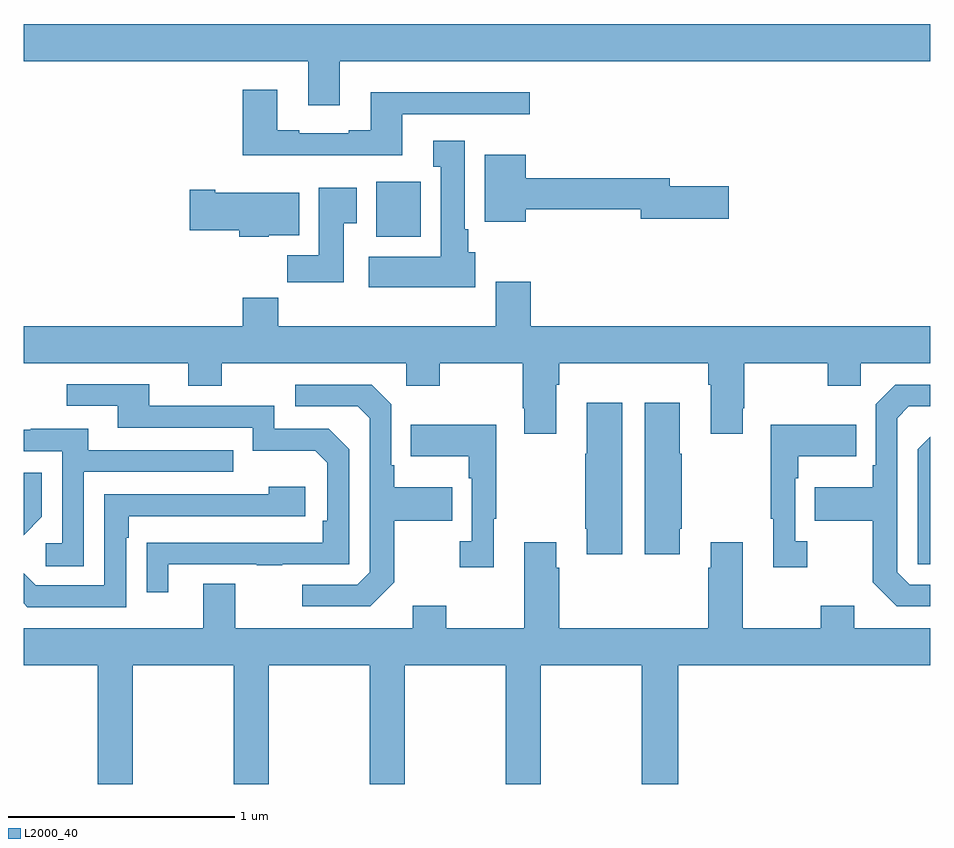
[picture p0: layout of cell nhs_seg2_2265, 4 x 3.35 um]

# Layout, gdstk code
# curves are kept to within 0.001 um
import gdstk
lib = gdstk.Library(unit=1e-6, precision=1e-09)
def R(c, l, rs):  # rectangles x0, y0, x1, y1
    for r in rs: c.add(gdstk.rectangle(r[:2], r[2:], *l))
def P(c, l, *ps):  # polygons
    for p in ps: c.add(gdstk.Polygon(p, *l))
L2000_40 = (2000, 40)

nhs_seg2_2265 = lib.new_cell('nhs_seg2_2265')
R(nhs_seg2_2265, L2000_40, [(230.555,628.214,230.752,628.456)])
P(nhs_seg2_2265, L2000_40, [(230.395,628.988),(233,628.988),(233,629.152),(229,629.152),(229,628.988),(230.255,628.988),(230.255,628.794),(230.395,628.794)],
  [(230.671,628.755),(231.232,628.755),(231.232,628.852),(230.531,628.852),(230.531,628.684),(230.435,628.684),(230.435,628.671),(230.215,628.671),(230.215,628.684),(230.119,628.684),(230.119,628.861),(229.967,628.861),(229.967,628.574),(230.671,628.574)],
  [(230.992,628.146),(230.962,628.146),(230.962,628.246),(230.947,628.246),(230.947,628.636),(230.807,628.636),(230.807,628.523),(230.84,628.523),(230.84,628.126),(230.523,628.126),(230.523,627.992),(230.992,627.992)],
  [(231.214,628.336),(231.722,628.336),(231.722,628.294),(232.111,628.294),(232.111,628.436),(231.85,628.436),(231.85,628.472),(231.214,628.472),(231.214,628.576),(231.035,628.576),(231.035,628.28),(231.214,628.28)],
  [(230.413,628.273),(230.47,628.273),(230.47,628.429),(230.303,628.429),(230.303,628.132),(230.164,628.132),(230.164,628.014),(230.413,628.014)],
  [(230.082,628.22),(230.215,628.22),(230.215,628.408),(229.846,628.408),(229.846,628.421),(229.734,628.421),(229.734,628.243),(229.952,628.243),(229.952,628.214),(230.082,628.214)],
  [(231.349,627.56),(231.362,627.56),(231.362,627.656),(232.019,627.656),(232.019,627.56),(232.031,627.56),(232.031,627.345),(232.171,627.345),(232.171,627.457),(232.179,627.457),(232.179,627.656),(232.546,627.656),(232.546,627.557),(232.692,627.557),(232.692,627.656),(233,627.656),(233,627.82),(231.236,627.82),(231.236,628.015),(231.083,628.015),(231.083,627.82),(230.123,627.82),(230.123,627.944),(229.967,627.944),(229.967,627.82),(229,627.82),(229,627.656),(229.727,627.656),(229.727,627.557),(229.875,627.557),(229.875,627.656),(230.688,627.656),(230.688,627.557),(230.835,627.557),(230.835,627.656),(231.202,627.656),(231.202,627.457),(231.209,627.457),(231.209,627.345),(231.349,627.345)],
  [(229.639,626.769),(230.029,626.769),(230.029,626.764),(230.141,626.764),(230.141,626.769),(230.436,626.769),(230.436,627.276),(230.346,627.366),(230.106,627.366),(230.106,627.468),(229.555,627.468),(229.555,627.564),(229.191,627.564),(229.191,627.468),(229.415,627.468),(229.415,627.372),(230.01,627.372),(230.01,627.269),(230.287,627.269),(230.34,627.216),(230.34,626.962),(230.32,626.962),(230.32,626.865),(229.543,626.864),(229.543,626.646),(229.639,626.646)],
  [(230.635,626.689),(230.635,626.962),(230.891,626.962),(230.891,627.109),(230.635,627.109),(230.635,627.205),(230.622,627.205),(230.622,627.474),(230.535,627.561),(230.199,627.561),(230.199,627.465),(230.475,627.465),(230.526,627.414),(230.526,626.733),(230.472,626.679),(230.229,626.679),(230.229,626.583),(230.529,626.583)],
  [(233,626.679),(232.908,626.679),(232.854,626.733),(232.854,627.414),(232.905,627.465),(233,627.465),(233,627.561),(232.845,627.561),(232.758,627.474),(232.758,627.205),(232.746,627.205),(232.746,627.109),(232.489,627.109),(232.489,626.962),(232.746,626.962),(232.746,626.689),(232.851,626.583),(233,626.583)],
  [(231.64,627.481),(231.485,627.481),(231.485,627.257),(231.478,627.257),(231.478,626.926),(231.485,626.926),(231.485,626.814),(231.64,626.814)],
  [(231.895,626.926),(231.903,626.926),(231.903,627.257),(231.895,627.257),(231.895,627.481),(231.74,627.481),(231.74,626.814),(231.895,626.814)],
  [(232.456,626.87),(232.404,626.87),(232.404,627.149),(232.417,627.149),(232.417,627.245),(232.673,627.245),(232.673,627.385),(232.296,627.385),(232.296,626.969),(232.307,626.969),(232.307,626.757),(232.456,626.757)],
  [(231.073,626.969),(231.085,626.969),(231.085,627.385),(230.707,627.385),(230.707,627.245),(230.964,627.245),(230.964,627.149),(230.976,627.149),(230.976,626.87),(230.925,626.87),(230.925,626.757),(231.073,626.757)],
  [(229.266,627.177),(229.925,627.177),(229.925,627.273),(229.285,627.273),(229.285,627.367),(229.031,627.367),(229.031,627.363),(229,627.363),(229,627.267),(229.17,627.267),(229.17,626.862),(229.098,626.862),(229.098,626.761),(229.266,626.761)],
  [(233,627.332),(232.944,627.276),(232.944,626.769),(233,626.769)],
  [(229.08,626.978),(229.08,627.172),(229,627.172),(229,626.898)],
  [(229.452,626.885),(229.465,626.885),(229.465,626.982),(230.242,626.982),(230.242,627.112),(230.081,627.112),(230.081,627.078),(229.356,627.078),(229.356,626.676),(229.053,626.676),(229,626.729),(229,626.597),(229.017,626.58),(229.452,626.58)],
  [(229.482,626.324),(229.927,626.324),(229.927,625.8),(230.082,625.8),(230.082,626.324),(230.527,626.324),(230.527,625.8),(230.682,625.8),(230.682,626.324),(231.127,626.324),(231.127,625.8),(231.282,625.8),(231.282,626.324),(231.727,626.324),(231.727,625.8),(231.887,625.8),(231.887,626.324),(233,626.324),(233,626.488),(232.663,626.488),(232.663,626.587),(232.516,626.587),(232.516,626.488),(232.171,626.488),(232.171,626.866),(232.031,626.866),(232.031,626.753),(232.019,626.753),(232.019,626.488),(231.362,626.488),(231.362,626.753),(231.349,626.753),(231.349,626.866),(231.209,626.866),(231.209,626.488),(230.865,626.488),(230.865,626.587),(230.717,626.587),(230.717,626.488),(229.933,626.488),(229.933,626.683),(229.793,626.683),(229.793,626.488),(229,626.488),(229,626.324),(229.327,626.324),(229.327,625.8),(229.482,625.8)])

lib.write_gds('nhs_seg2_2265.gds')
